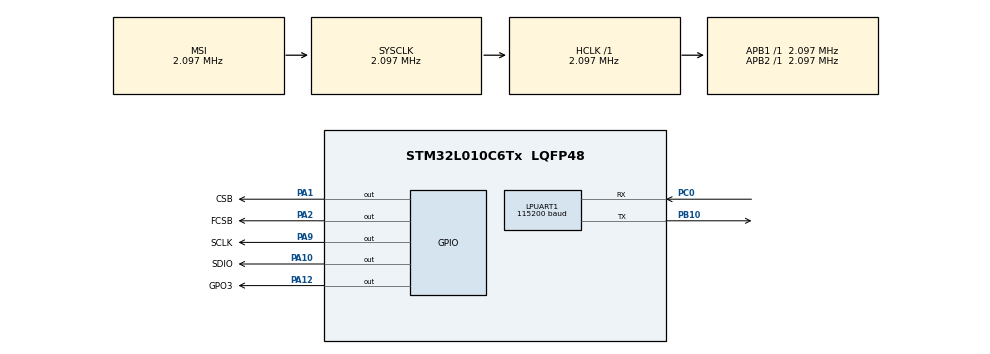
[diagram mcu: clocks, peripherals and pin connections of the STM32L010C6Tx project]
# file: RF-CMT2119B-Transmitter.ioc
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LPUART1.BaudRate=115200
LPUART1.WordLength=UART_WORDLENGTH_8B
Mcu.Family=STM32L0
Mcu.Name=STM32L010C6Tx
Mcu.Package=LQFP48
PA1.GPIO_Label=CSB
PA1.Signal=GPIO_Output
PA10.GPIO_Label=SDIO
PA10.Signal=GPIO_Output
PA12.GPIO_Label=GPO3
PA12.Signal=GPIO_Output
PA13.Mode=Serial_Wire
PA13.Signal=SYS_SWDIO
PA14.Mode=Serial_Wire
PA14.Signal=SYS_SWCLK
PA2.GPIO_Label=FCSB
PA2.Signal=GPIO_Output
PA9.GPIO_Label=SCLK
PA9.Signal=GPIO_Output
PB10.Mode=Asynchronous
PB10.Signal=LPUART1_TX
PC0.Mode=Asynchronous
PC0.Signal=LPUART1_RX
PH0-OSC_IN.Mode=HSE-External-Oscillator
PH0-OSC_IN.Signal=RCC_OSC_IN
PH1-OSC_OUT.Mode=HSE-External-Oscillator
PH1-OSC_OUT.Signal=RCC_OSC_OUT
ProjectManager.HeapSize=0x200
ProjectManager.StackSize=0x400
ProjectManager.TargetToolchain=STM32CubeIDE
RCC.AHBFreq_Value=2097000
RCC.APB1Freq_Value=2097000
RCC.APB1TimFreq_Value=2097000
RCC.APB2Freq_Value=2097000
RCC.APB2TimFreq_Value=2097000
RCC.HSE_VALUE=25000000
RCC.HSI16_VALUE=16000000
RCC.HSI_VALUE=16000000
RCC.LSE_VALUE=32768
RCC.MSI_VALUE=2097000
RCC.SYSCLKFreq_VALUE=2097000
RCC.VCOOutputFreq_Value=48000000
board=custom

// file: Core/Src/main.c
/* USER CODE BEGIN Header */
/**
  ******************************************************************************
  * @file           : main.c
  * @brief          : Main program body
  ******************************************************************************
  * @attention
  *
  * <h2><center>&copy; Copyright (c) 2021 STMicroelectronics.
  * All rights reserved.</center></h2>
  *
  * This software component is licensed by ST under BSD 3-Clause license,
  * the "License"; You may not use this file except in compliance with the
  * License. You may obtain a copy of the License at:
  *                        opensource.org/licenses/BSD-3-Clause
  *
  ******************************************************************************
  */
/* USER CODE END Header */
#include "main.h"

/* USER CODE BEGIN Includes */
#include "RFM300_Driver.h"
#include "rf_conf.h"
/* USER CODE END Includes */

UART_HandleTypeDef hlpuart1;

void SystemClock_Config(void);
static void MX_GPIO_Init(void);
static void MX_LPUART1_UART_Init(void);

int main(void)
{

  /* MCU Configuration--------------------------------------------------------*/

  /* Reset of all peripherals, Initializes the Flash interface and the Systick. */
  HAL_Init();

  /* Configure the system clock */
  SystemClock_Config();

  /* Initialize all configured peripherals */
  MX_GPIO_Init();
  MX_LPUART1_UART_Init();
  /* USER CODE BEGIN 2 */
  #define TX_NUM  23
  byte tx_buf[23] = {'H', 'o', 'p', 'e', 'R', 'F', ' ', 'R', 'F', 'M', ' ', 'C', 'O', 'B', 'R', 'F', 'M', '3', '0', '0', 'A','1','2'};
  byte tx_buf2[23] = {'2', '4', '5', '6', '6', '5', '4', '3', '2', 'A', '0', '0', '0', '0', '0', '0', '0', '0', '0', '2', 'B', '2','4'};

  HAL_UART_Transmit(&hlpuart1, (uint8_t *)"Basladi\r\n", 9, 100);

  FixedPktLength    = 0;
  PayloadLength     = 21;
  vInit();
  vCfgBank(CMTBank, 12);
  vCfgBank(SystemBank, 12);
  vCfgBank(FrequencyBank, 8);
  vCfgBank(DataRateBank, 24);
  vCfgBank(BasebandBank, 29);
  vCfgBank(TXBank, 11);
  vEnableAntSwitch(0);
  vGpioFuncCfg(GPIO1_DCLK + GPIO2_DCLK + GPIO3_INT2); //GPIO Maping

  vIntSrcCfg(INT_FIFO_NMTY_TX, INT_TX_DONE);    //IRQ maping
  vIntSrcEnable(TX_DONE_EN);
  vClearFIFO();
  bGoSleep();

  HAL_UART_Transmit(&hlpuart1, (uint8_t *)"Tx...\r\n", 7, 100);

  /* USER CODE END 2 */

  /* Infinite loop */
  while (1)
  {

    /* USER CODE BEGIN 3 */
	  bSendMessage(tx_buf, TX_NUM);
	  while (GPO3_L());
	  bIntSrcFlagClr();
	  vClearFIFO();
	  bGoSleep();
	  HAL_UART_Transmit( &hlpuart1, (uint8_t *)"gonderildi\r\n",12, 100);
	  HAL_Delay(5000);

	  bSendMessage(tx_buf2, TX_NUM);
	  	  while (GPO3_L());
	  	  bIntSrcFlagClr();
	  	  vClearFIFO();
	  	  bGoSleep();
	  	  HAL_UART_Transmit( &hlpuart1, (uint8_t *)"tx_buf2\r\n",12, 100);
	  	  HAL_Delay(5000);
  }
  /* USER CODE END 3 */
}

void SystemClock_Config(void)
{
  RCC_OscInitTypeDef RCC_OscInitStruct = {0};
  RCC_ClkInitTypeDef RCC_ClkInitStruct = {0};
  RCC_PeriphCLKInitTypeDef PeriphClkInit = {0};

  /** Configure the main internal regulator output voltage
  */
  __HAL_PWR_VOLTAGESCALING_CONFIG(PWR_REGULATOR_VOLTAGE_SCALE1);
  /** Initializes the RCC Oscillators according to the specified parameters
  * in the RCC_OscInitTypeDef structure.
  */
  RCC_OscInitStruct.OscillatorType = RCC_OSCILLATORTYPE_MSI;
  RCC_OscInitStruct.MSIState = RCC_MSI_ON;
  RCC_OscInitStruct.MSICalibrationValue = 0;
  RCC_OscInitStruct.MSIClockRange = RCC_MSIRANGE_5;
  RCC_OscInitStruct.PLL.PLLState = RCC_PLL_NONE;
  if (HAL_RCC_OscConfig(&RCC_OscInitStruct) != HAL_OK)
  {
    Error_Handler();
  }
  /** Initializes the CPU, AHB and APB buses clocks
  */
  RCC_ClkInitStruct.ClockType = RCC_CLOCKTYPE_HCLK|RCC_CLOCKTYPE_SYSCLK
                              |RCC_CLOCKTYPE_PCLK1|RCC_CLOCKTYPE_PCLK2;
  RCC_ClkInitStruct.SYSCLKSource = RCC_SYSCLKSOURCE_MSI;
  RCC_ClkInitStruct.AHBCLKDivider = RCC_SYSCLK_DIV1;
  RCC_ClkInitStruct.APB1CLKDivider = RCC_HCLK_DIV1;
  RCC_ClkInitStruct.APB2CLKDivider = RCC_HCLK_DIV1;

  if (HAL_RCC_ClockConfig(&RCC_ClkInitStruct, FLASH_LATENCY_0) != HAL_OK)
  {
    Error_Handler();
  }
  PeriphClkInit.PeriphClockSelection = RCC_PERIPHCLK_LPUART1;
  PeriphClkInit.Lpuart1ClockSelection = RCC_LPUART1CLKSOURCE_PCLK1;
  if (HAL_RCCEx_PeriphCLKConfig(&PeriphClkInit) != HAL_OK)
  {
    Error_Handler();
  }
}

static void MX_LPUART1_UART_Init(void)
{

  hlpuart1.Instance = LPUART1;
  hlpuart1.Init.BaudRate = 115200;
  hlpuart1.Init.WordLength = UART_WORDLENGTH_8B;
  hlpuart1.Init.StopBits = UART_STOPBITS_1;
  hlpuart1.Init.Parity = UART_PARITY_NONE;
  hlpuart1.Init.Mode = UART_MODE_TX_RX;
  hlpuart1.Init.HwFlowCtl = UART_HWCONTROL_NONE;
  hlpuart1.Init.OneBitSampling = UART_ONE_BIT_SAMPLE_DISABLE;
  hlpuart1.AdvancedInit.AdvFeatureInit = UART_ADVFEATURE_NO_INIT;
  if (HAL_UART_Init(&hlpuart1) != HAL_OK)
  {
    Error_Handler();
  }

}

static void MX_GPIO_Init(void)
{
  GPIO_InitTypeDef GPIO_InitStruct = {0};

  /* GPIO Ports Clock Enable */
  __HAL_RCC_GPIOC_CLK_ENABLE();
  __HAL_RCC_GPIOH_CLK_ENABLE();
  __HAL_RCC_GPIOA_CLK_ENABLE();
  __HAL_RCC_GPIOB_CLK_ENABLE();

  /*Configure GPIO pin Output Level */
  HAL_GPIO_WritePin(GPIOA, CSB_Pin|FCSB_Pin|SCLK_Pin|SDIO_Pin
                          |GPO3_Pin, GPIO_PIN_RESET);

  /*Configure GPIO pins : CSB_Pin FCSB_Pin SCLK_Pin SDIO_Pin
                           GPO3_Pin */
  GPIO_InitStruct.Pin = CSB_Pin|FCSB_Pin|SCLK_Pin|SDIO_Pin
                          |GPO3_Pin;
  GPIO_InitStruct.Mode = GPIO_MODE_OUTPUT_PP;
  GPIO_InitStruct.Pull = GPIO_NOPULL;
  GPIO_InitStruct.Speed = GPIO_SPEED_FREQ_LOW;
  HAL_GPIO_Init(GPIOA, &GPIO_InitStruct);

}

void Error_Handler(void)
{
  __disable_irq();
  while (1)
  {
  }
}

/************************ (C) COPYRIGHT STMicroelectronics *****END OF FILE****/
